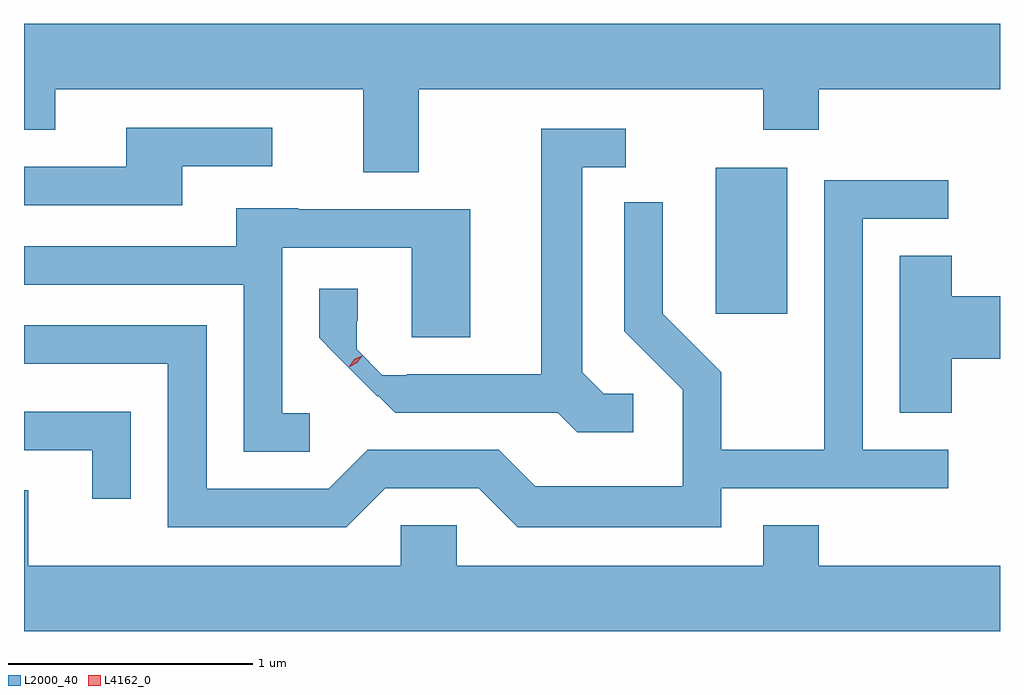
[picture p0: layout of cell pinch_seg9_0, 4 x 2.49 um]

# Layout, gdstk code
import gdstk
lib = gdstk.Library(unit=1e-6, precision=1e-09)
def R(c, l, rs):  # rectangles x0, y0, x1, y1
    for r in rs: c.add(gdstk.rectangle(r[:2], r[2:], *l))
def P(c, l, *ps):  # polygons
    for p in ps: c.add(gdstk.Polygon(p, *l))
L2000_40 = (2000, 40)
L4162_0 = (4162, 0)

pinch_seg9_0 = lib.new_cell('pinch_seg9_0')
R(pinch_seg9_0, L2000_40, [(1910.606,2017.536,1910.899,2018.134)])
P(pinch_seg9_0, L2000_40, [(1909.389,2018.456),(1910.801,2018.456),(1910.801,2018.291),(1911.029,2018.291),(1911.029,2018.456),(1911.771,2018.456),(1911.771,2018.724),(1907.771,2018.724),(1907.771,2018.291),(1907.899,2018.291),(1907.899,2018.456),(1909.161,2018.456),(1909.161,2018.116),(1909.389,2018.116)],
  [(1908.419,2018.141),(1908.788,2018.141),(1908.788,2018.299),(1908.191,2018.299),(1908.191,2018.139),(1907.771,2018.139),(1907.771,2017.981),(1908.419,2017.981)],
  [(1910.268,2017.209),(1910.147,2017.209),(1910.059,2017.297),(1910.059,2018.136),(1910.238,2018.136),(1910.238,2018.294),(1909.891,2018.294),(1909.891,2017.289),(1909.34,2017.289),(1909.34,2017.285),(1909.24,2017.285),(1909.135,2017.39),(1909.135,2017.508),(1909.139,2017.508),(1909.139,2017.638),(1908.981,2017.638),(1908.981,2017.437),(1909.047,2017.371),(1909.046,2017.37),(1909.22,2017.196),(1909.223,2017.2),(1909.292,2017.131),(1909.959,2017.131),(1910.039,2017.051),(1910.268,2017.051)],
  [(1909.252,2016.821),(1909.634,2016.821),(1909.794,2016.661),(1910.629,2016.661),(1910.629,2016.821),(1911.558,2016.821),(1911.558,2016.979),(1911.209,2016.979),(1911.209,2017.926),(1911.558,2017.926),(1911.558,2018.084),(1911.051,2018.084),(1911.051,2016.979),(1910.629,2016.979),(1910.629,2017.297),(1910.389,2017.537),(1910.389,2017.993),(1910.231,2017.993),(1910.231,2017.464),(1910.471,2017.224),(1910.471,2016.829),(1909.867,2016.829),(1909.717,2016.979),(1909.179,2016.979),(1909.019,2016.819),(1908.519,2016.819),(1908.519,2017.489),(1907.771,2017.489),(1907.771,2017.331),(1908.361,2017.331),(1908.361,2016.661),(1909.092,2016.661)],
  [(1908.943,2017.129),(1908.829,2017.129),(1908.829,2017.806),(1909.361,2017.806),(1909.361,2017.441),(1909.599,2017.441),(1909.599,2017.964),(1908.895,2017.964),(1908.895,2017.969),(1908.641,2017.969),(1908.641,2017.814),(1907.771,2017.814),(1907.771,2017.656),(1908.671,2017.656),(1908.671,2016.971),(1908.943,2016.971)],
  [(1911.574,2017.351),(1911.771,2017.351),(1911.771,2017.609),(1911.574,2017.609),(1911.574,2017.774),(1911.361,2017.774),(1911.361,2017.131),(1911.574,2017.131)],
  [(1908.209,2017.134),(1907.771,2017.134),(1907.771,2016.976),(1908.051,2016.976),(1908.051,2016.778),(1908.209,2016.778)],
  [(1911.771,2016.504),(1911.029,2016.504),(1911.029,2016.669),(1910.801,2016.669),(1910.801,2016.504),(1909.544,2016.504),(1909.544,2016.669),(1909.316,2016.669),(1909.316,2016.504),(1907.789,2016.504),(1907.789,2016.814),(1907.771,2016.814),(1907.771,2016.236),(1911.771,2016.236)])
P(pinch_seg9_0, L4162_0, [(1909.105,2017.32),(1909.105,2017.321),(1909.124,2017.35),(1909.156,2017.365),(1909.157,2017.365),(1909.157,2017.364),(1909.137,2017.335),(1909.106,2017.32)],
  [(1909.111,2017.326),(1909.111,2017.327),(1909.124,2017.35),(1909.15,2017.359),(1909.15,2017.359),(1909.15,2017.358),(1909.137,2017.335),(1909.111,2017.326)])

lib.write_gds('pinch_seg9_0.gds')
